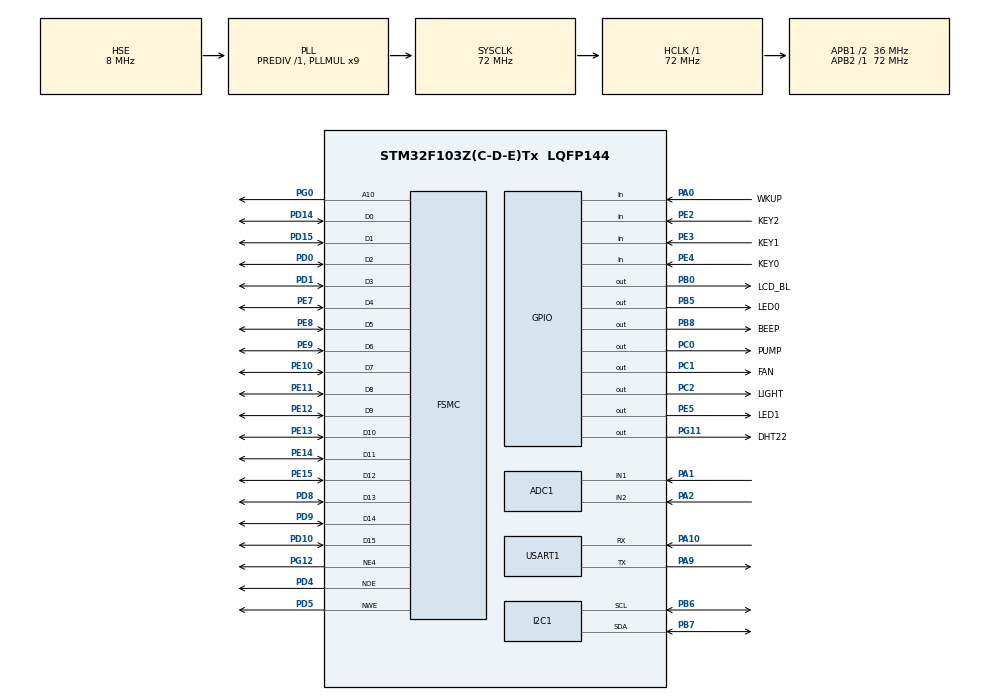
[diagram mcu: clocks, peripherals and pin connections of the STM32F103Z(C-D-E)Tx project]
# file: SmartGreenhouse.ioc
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ADC1.Channel-0\#ChannelRegularConversion=ADC_CHANNEL_1
ADC1.NbrOfConversionFlag=1
ADC1.Rank-0\#ChannelRegularConversion=1
ADC1.SamplingTime-0\#ChannelRegularConversion=ADC_SAMPLETIME_1CYCLE_5
ADC1.master=1
FSMC.AddressSetupTime1=1
FSMC.BusTurnAroundDuration1=0
FSMC.DataSetupTime1=15
Mcu.Family=STM32F1
Mcu.Name=STM32F103Z(C-D-E)Tx
Mcu.Package=LQFP144
NVIC.PriorityGroup=NVIC_PRIORITYGROUP_4
NVIC.TIM7_IRQn=true\:0\:0\:false\:false\:true\:true\:true\:true
NVIC.USART1_IRQn=true\:0\:0\:false\:false\:true\:true\:true\:true
OSC_IN.Mode=HSE-External-Oscillator
OSC_IN.Signal=RCC_OSC_IN
OSC_OUT.Mode=HSE-External-Oscillator
OSC_OUT.Signal=RCC_OSC_OUT
PA0-WKUP.GPIO_Label=WKUP
PA0-WKUP.GPIO_PuPd=GPIO_PULLDOWN
PA0-WKUP.Signal=GPIO_Input
PA1.Signal=ADCx_IN1
PA10.Mode=Asynchronous
PA10.Signal=USART1_RX
PA13.Mode=Serial_Wire
PA13.Signal=SYS_JTMS-SWDIO
PA14.Mode=Serial_Wire
PA14.Signal=SYS_JTCK-SWCLK
PA2.Signal=ADCx_IN2
PA9.Mode=Asynchronous
PA9.Signal=USART1_TX
PB0.GPIO_Label=LCD_BL
PB0.Signal=GPIO_Output
PB5.GPIO_Label=LED0
PB5.Signal=GPIO_Output
PB6.Mode=I2C
PB6.Signal=I2C1_SCL
PB7.Mode=I2C
PB7.Signal=I2C1_SDA
PB8.GPIO_Label=BEEP
PB8.Signal=GPIO_Output
PC0.GPIO_Label=PUMP
PC0.PinState=GPIO_PIN_SET
PC0.Signal=GPIO_Output
PC1.GPIO_Label=FAN
PC1.PinState=GPIO_PIN_SET
PC1.Signal=GPIO_Output
PC14-OSC32_IN.Mode=LSE-External-Oscillator
PC14-OSC32_IN.Signal=RCC_OSC32_IN
PC15-OSC32_OUT.Mode=LSE-External-Oscillator
PC15-OSC32_OUT.Signal=RCC_OSC32_OUT
PC2.GPIO_Label=LIGHT
PC2.PinState=GPIO_PIN_SET
PC2.Signal=GPIO_Output
PD0.Signal=FSMC_D2_DA2
PD1.Signal=FSMC_D3_DA3
PD10.Signal=FSMC_D15_DA15
PD14.Signal=FSMC_D0_DA0
PD15.Signal=FSMC_D1_DA1
PD4.Signal=FSMC_NOE
PD5.Signal=FSMC_NWE
PD8.Signal=FSMC_D13_DA13
PD9.Signal=FSMC_D14_DA14
PE10.Signal=FSMC_D7_DA7
PE11.Signal=FSMC_D8_DA8
PE12.Signal=FSMC_D9_DA9
PE13.Signal=FSMC_D10_DA10
PE14.Signal=FSMC_D11_DA11
PE15.Signal=FSMC_D12_DA12
PE2.GPIO_Label=KEY2
PE2.GPIO_PuPd=GPIO_PULLUP
PE2.Signal=GPIO_Input
PE3.GPIO_Label=KEY1
PE3.Signal=GPIO_Input
PE4.GPIO_Label=KEY0
PE4.Signal=GPIO_Input
PE5.GPIO_Label=LED1
PE5.Signal=GPIO_Output
PE7.Signal=FSMC_D4_DA4
PE8.Signal=FSMC_D5_DA5
PE9.Signal=FSMC_D6_DA6
PG0.Signal=FSMC_A10
PG11.GPIO_Label=DHT22
PG11.Signal=GPIO_Output
PG12.Mode=NorPsramChipSelect4_1
PG12.Signal=FSMC_NE4
ProjectManager.HeapSize=0x200
ProjectManager.StackSize=0x400
ProjectManager.TargetToolchain=STM32CubeIDE
RCC.ADCPresc=RCC_ADCPCLK2_DIV6
RCC.AHBFreq_Value=72000000
RCC.APB1CLKDivider=RCC_HCLK_DIV2
RCC.APB1Freq_Value=36000000
RCC.APB1TimFreq_Value=72000000
RCC.APB2Freq_Value=72000000
RCC.APB2TimFreq_Value=72000000
RCC.EnbaleCSS=true
RCC.HCLKFreq_Value=72000000
RCC.PLLMUL=RCC_PLL_MUL9
RCC.PLLSourceVirtual=RCC_PLLSOURCE_HSE
RCC.RTCClockSelection=RCC_RTCCLKSOURCE_LSE
RCC.SYSCLKFreq_VALUE=72000000
RCC.SYSCLKSource=RCC_SYSCLKSOURCE_PLLCLK
RCC.USBFreq_Value=72000000
SH.ADCx_IN1.0=ADC1_IN1,IN1
SH.ADCx_IN2.0=ADC1_IN2,IN2
SH.FSMC_A10.0=FSMC_A10,A10_1
SH.FSMC_D0_DA0.0=FSMC_D0,16b-d1
SH.FSMC_D10_DA10.0=FSMC_D10,16b-d1
SH.FSMC_D11_DA11.0=FSMC_D11,16b-d1
SH.FSMC_D12_DA12.0=FSMC_D12,16b-d1
SH.FSMC_D13_DA13.0=FSMC_D13,16b-d1
SH.FSMC_D14_DA14.0=FSMC_D14,16b-d1
SH.FSMC_D15_DA15.0=FSMC_D15,16b-d1
SH.FSMC_D1_DA1.0=FSMC_D1,16b-d1
SH.FSMC_D2_DA2.0=FSMC_D2,16b-d1
SH.FSMC_D3_DA3.0=FSMC_D3,16b-d1
SH.FSMC_D4_DA4.0=FSMC_D4,16b-d1
SH.FSMC_D5_DA5.0=FSMC_D5,16b-d1
SH.FSMC_D6_DA6.0=FSMC_D6,16b-d1
SH.FSMC_D7_DA7.0=FSMC_D7,16b-d1
SH.FSMC_D8_DA8.0=FSMC_D8,16b-d1
SH.FSMC_D9_DA9.0=FSMC_D9,16b-d1
SH.FSMC_NOE.0=FSMC_NOE,Lcd1
SH.FSMC_NWE.0=FSMC_NWE,Lcd1
TIM6.Prescaler=71
TIM7.Prescaler=71
USART1.VirtualMode=VM_ASYNC
VP_RTC_VS_RTC_Activate.Mode=RTC_Enabled
VP_RTC_VS_RTC_Calendar.Mode=RTC_Calendar
VP_TIM6_VS_ClockSourceINT.Mode=Enable_Timer
VP_TIM7_VS_ClockSourceINT.Mode=Enable_Timer
board=custom

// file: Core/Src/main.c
/*
 * main.c
 *
 *  Created on: 2026年4月20日
 *      Author: wangyubo
 */
/* USER CODE BEGIN Header */
/**
  ******************************************************************************
  * @file           : main.c
  * @brief          : Main program body
  ******************************************************************************
  * @attention
  *
  * Copyright (c) 2026 STMicroelectronics.
  * All rights reserved.
  *
  * This software is licensed under terms that can be found in the LICENSE file
  * in the root directory of this software component.
  * If no LICENSE file comes with this software, it is provided AS-IS.
  *
  ******************************************************************************
  */
/* USER CODE END Header */
#include "main.h"
#include "adc.h"
#include "i2c.h"
#include "rtc.h"
#include "tim.h"
#include "usart.h"
#include "gpio.h"
#include "fsmc.h"

/* USER CODE BEGIN Includes */
#include "config.h"
#include "bsp_delay_us.h"
#include "bsp_dht22.h"
#include "bsp_sensor.h"
#include "bsp_actuator.h"
#include "bsp_tftlcd.h"
#include "bsp_eeprom.h"
#include "bsp_key.h"
#include "app_comm.h"
#include "app_control.h"
#include "app_ui.h"
/* USER CODE END Includes */

/* USER CODE BEGIN PV */
/* ========== 全局变量 ========== */
SensorData_t  g_sensor_data = {0};
Thresholds_t  g_thresholds  = {
    DEFAULT_TEMP_HIGH, DEFAULT_HUM_LOW,
    DEFAULT_SOIL_DRY,  DEFAULT_LIGHT_LOW
};
SystemMode_t  g_mode = MODE_AUTO;

volatile uint32_t g_tick_ms     = 0;
volatile uint8_t  g_sample_flag = 0;

/* 声明外部外设句柄，解决未定义报错问题 */
extern ADC_HandleTypeDef   hadc1;
extern I2C_HandleTypeDef   hi2c1;
extern UART_HandleTypeDef  huart1;
extern TIM_HandleTypeDef   htim6;
extern TIM_HandleTypeDef   htim7;
/* USER CODE END PV */

void SystemClock_Config(void);

#include "app_ui.h" // 确保包含了相关的头文件

void Hardware_SelfTest(void)
{
    /* 1. 屏幕与蜂鸣器测试 */
    LCD_Clear(COLOR_BLUE);
    LCD_ShowString(10, 10, "Hardware Test Start...", 24, COLOR_WHITE, COLOR_BLUE);
    Comm_SendString("\r\n--- Hardware Test Start ---\r\n");
    Beep_On();
    HAL_Delay(200);
    Beep_Off();

    /* 2. 继电器执行器测试 (请注意听继电器是否有“吧嗒”声，或看模块指示灯) */
    LCD_ShowString(10, 50, "1. Testing Pump...", 24, COLOR_WHITE, COLOR_BLUE);
    Pump_On(); HAL_Delay(1000); Pump_Off();

    LCD_ShowString(10, 80, "2. Testing Fan...", 24, COLOR_WHITE, COLOR_BLUE);
    Fan_On(); HAL_Delay(1000); Fan_Off();

    LCD_ShowString(10, 110, "3. Testing Light...", 24, COLOR_WHITE, COLOR_BLUE);
    GrowLight_On(); HAL_Delay(1000); GrowLight_Off();

    /* 3. 传感器读取测试 */
    SensorData_t test_data = {0};
    LCD_ShowString(10, 150, "Reading Sensors...", 24, COLOR_YELLOW, COLOR_BLUE);
    HAL_Delay(1000); // 稍微延时，给 DHT22 和 ADC 一点稳定时间
    Sensor_ReadAll(&test_data);

    /* 4. 清屏并显示传感器测试结果 */
    LCD_Clear(COLOR_BLACK);
    LCD_ShowString(10, 10, "Sensor Result:", 24, COLOR_WHITE, COLOR_BLACK);
    LCD_Printf(10, 50, 24, COLOR_GREEN, COLOR_BLACK,  "Temp : %.1f C", test_data.temperature);
    LCD_Printf(10, 90, 24, COLOR_GREEN, COLOR_BLACK,  "Hum  : %.1f %%", test_data.humidity);
    LCD_Printf(10, 130, 24, COLOR_YELLOW, COLOR_BLACK,"Soil : %u (ADC)", test_data.soil);
    LCD_Printf(10, 170, 24, COLOR_YELLOW, COLOR_BLACK,"Light: %u (ADC)", test_data.light);

    /* 将结果也打印到电脑串口 */
    Comm_SendString("Sensor Test Data:\r\n");
    Comm_SendSensorCSV(&test_data);

    LCD_ShowString(10, 230, "Test Finished! Booting...", 16, COLOR_GRAY, COLOR_BLACK);
    HAL_Delay(5000); // 画面停留 5 秒钟供您观察接线数据是否正常
}

int main(void)
{

  /* MCU Configuration--------------------------------------------------------*/

  /* Reset of all peripherals, Initializes the Flash interface and the Systick. */
  HAL_Init();

  /* Configure the system clock */
  SystemClock_Config();

  /* Initialize all configured peripherals */
  MX_GPIO_Init();
  MX_FSMC_Init();
  MX_ADC1_Init();
  MX_I2C1_Init();
  MX_RTC_Init();
  MX_TIM6_Init();
  MX_TIM7_Init();
  MX_USART1_UART_Init();

  /* USER CODE BEGIN 2 */

  /* 应用层初始化 */
  Delay_us_Init(&htim6);
  Sensor_Init(&hadc1);
  Actuator_Init();
  EEPROM_Init(&hi2c1);
  Comm_Init(&huart1);
  LCD_Init();
  UI_DrawDashboard();
  UI_UpdateModeLabel(g_mode);
  /* ★ TFTLCD 初始化 + 绘制仪表盘 ★ */
  /* 临时调试：打印 LCD ID */
  char id_buf[32];
  snprintf(id_buf, sizeof(id_buf), "LCD ID: 0x%04X\r\n", g_lcd_id);
  Comm_SendString(id_buf);  // 通过串口打印出来

  /* 启动心跳定时器 */
  HAL_TIM_Base_Start_IT(&htim7);

  /* 开机首次采样 */
  Sensor_ReadAll(&g_sensor_data);
  UI_UpdateSensorData(&g_sensor_data, &g_thresholds);
  UI_UpdateActuatorStatus(Actuator_GetStatus());
  UI_PushTempCurve(g_sensor_data.temperature);
  Comm_SendSensorCSV(&g_sensor_data);

  /* USER CODE END 2 */

  /* Infinite loop */
  while (1)
  {

    /* USER CODE BEGIN 3 */

    /* 1) 按键 + UI */
    UI_Process(&g_mode, &g_thresholds, &g_sensor_data);

    /* 2) 串口命令 */
    Comm_PollCommand(&g_mode);

    /* 3) 定时采样 */
    if (g_sample_flag) {
        g_sample_flag = 0;

        Sensor_ReadAll(&g_sensor_data);

        /* 刷新 TFTLCD 各区域 */
        /* 刷新 TFTLCD 各区域 */
        if (g_mode != MODE_SETTING) {
            UI_UpdateSensorData(&g_sensor_data, &g_thresholds);
            UI_UpdateActuatorStatus(Actuator_GetStatus());
        }
        UI_PushTempCurve(g_sensor_data.temperature);

        /* 串口上报 + EEPROM 记录 */
        Comm_SendSensorCSV(&g_sensor_data);
        EEPROM_LogRecord(&g_sensor_data);

        /* LED0 翻转 */
        HAL_GPIO_TogglePin(LED0_PORT, LED0_PIN);

        /* 自动控制 */
        if (g_mode == MODE_AUTO) {
            Control_Auto(&g_sensor_data, &g_thresholds);
            UI_UpdateActuatorStatus(Actuator_GetStatus());
        }

        /* 报警检测 */
        if (Control_CheckAlarm(&g_sensor_data, &g_thresholds)) {
            HAL_GPIO_WritePin(LED1_PORT, LED1_PIN, GPIO_PIN_RESET);
            Alarm_Beep(3);
            UI_ShowAlarm("! ALARM: Critical !");
            Comm_SendString("[ALARM] Critical!\r\n");
        } else {
            HAL_GPIO_WritePin(LED1_PORT, LED1_PIN, GPIO_PIN_SET);
            UI_ClearAlarm();
        }
    }

  }
  /* USER CODE END 3 */
}

void SystemClock_Config(void)
{
  RCC_OscInitTypeDef RCC_OscInitStruct = {0};
  RCC_ClkInitTypeDef RCC_ClkInitStruct = {0};
  RCC_PeriphCLKInitTypeDef PeriphClkInit = {0};

  /** Initializes the RCC Oscillators according to the specified parameters
  * in the RCC_OscInitTypeDef structure.
  */
  RCC_OscInitStruct.OscillatorType = RCC_OSCILLATORTYPE_HSE|RCC_OSCILLATORTYPE_LSE;
  RCC_OscInitStruct.HSEState = RCC_HSE_ON;
  RCC_OscInitStruct.HSEPredivValue = RCC_HSE_PREDIV_DIV1;
  RCC_OscInitStruct.LSEState = RCC_LSE_ON;
  RCC_OscInitStruct.HSIState = RCC_HSI_ON;
  RCC_OscInitStruct.PLL.PLLState = RCC_PLL_ON;
  RCC_OscInitStruct.PLL.PLLSource = RCC_PLLSOURCE_HSE;
  RCC_OscInitStruct.PLL.PLLMUL = RCC_PLL_MUL9;
  if (HAL_RCC_OscConfig(&RCC_OscInitStruct) != HAL_OK)
  {
    Error_Handler();
  }

  /** Initializes the CPU, AHB and APB buses clocks
  */
  RCC_ClkInitStruct.ClockType = RCC_CLOCKTYPE_HCLK|RCC_CLOCKTYPE_SYSCLK
                              |RCC_CLOCKTYPE_PCLK1|RCC_CLOCKTYPE_PCLK2;
  RCC_ClkInitStruct.SYSCLKSource = RCC_SYSCLKSOURCE_PLLCLK;
  RCC_ClkInitStruct.AHBCLKDivider = RCC_SYSCLK_DIV1;
  RCC_ClkInitStruct.APB1CLKDivider = RCC_HCLK_DIV2;
  RCC_ClkInitStruct.APB2CLKDivider = RCC_HCLK_DIV1;

  if (HAL_RCC_ClockConfig(&RCC_ClkInitStruct, FLASH_LATENCY_2) != HAL_OK)
  {
    Error_Handler();
  }
  PeriphClkInit.PeriphClockSelection = RCC_PERIPHCLK_RTC|RCC_PERIPHCLK_ADC;
  PeriphClkInit.RTCClockSelection = RCC_RTCCLKSOURCE_LSE;
  PeriphClkInit.AdcClockSelection = RCC_ADCPCLK2_DIV6;
  if (HAL_RCCEx_PeriphCLKConfig(&PeriphClkInit) != HAL_OK)
  {
    Error_Handler();
  }

  /** Enables the Clock Security System
  */
  HAL_RCC_EnableCSS();
}

/* USER CODE BEGIN 4 */
/* ========== TIM7 回调：1ms ========== */
void HAL_TIM_PeriodElapsedCallback(TIM_HandleTypeDef *htim)
{
    if (htim == &htim7) {
        g_tick_ms++;
        if (g_tick_ms >= SAMPLE_INTERVAL_MS) {
            g_tick_ms = 0;
            g_sample_flag = 1;
        }
    }
}
/* USER CODE END 4 */

void Error_Handler(void)
{
  __disable_irq();
  while (1)
  {
  }
}
